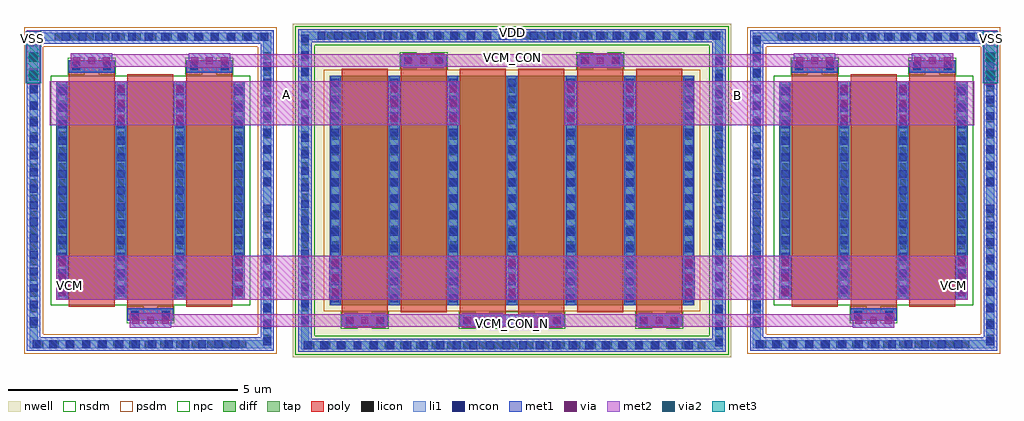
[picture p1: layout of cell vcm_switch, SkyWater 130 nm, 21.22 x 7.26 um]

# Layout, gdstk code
import gdstk
lib = gdstk.Library(unit=1e-6, precision=1e-09)
def R(c, l, rs):  # rectangles x0, y0, x1, y1
    for r in rs: c.add(gdstk.rectangle(r[:2], r[2:], *l))
def A(c, l, x, y, w, h, nx, ny, dx, dy):  # array of equal rectangles
    R(c, l, [(x+i*dx, y+j*dy, x+i*dx+w, y+j*dy+h) for i in range(nx) for j in range(ny)])
nwell = (64, 20)
diff = (65, 20)
tap = (65, 44)
poly = (66, 20)
licon = (66, 44)
li1 = (67, 20)
mcon = (67, 44)
met1 = (68, 20)
via = (68, 44)
met2 = (69, 20)
via2 = (69, 44)
met3 = (70, 20)
nsdm = (93, 44)
psdm = (94, 20)
npc = (95, 20)

vcm_switch = lib.new_cell('vcm_switch')
R(vcm_switch, nwell, [(5.845,0,15.375,7.26)])
R(vcm_switch, diff, [(6.645,1.13,14.575,6.13), (0.705,1.255,4.795,6.005), (16.425,1.255,20.515,6.005)])
R(vcm_switch, tap, [(6.025,0.18,15.195,0.35), (0.125,0.205,5.375,0.375), (15.845,0.205,21.095,0.375), (6.025,0.35,6.195,6.91), (15.025,0.35,15.195,6.91), (0.125,0.375,0.295,6.885), (5.205,0.375,5.375,6.885), (15.845,0.375,16.015,6.885), (20.925,0.375,21.095,6.885), (0.125,6.885,5.375,7.055), (15.845,6.885,21.095,7.055), (6.025,6.91,15.195,7.08)])
R(vcm_switch, poly, [(6.91,0.67,7.91,6.28), (9.47,0.67,10.47,6.28), (10.75,0.67,11.75,6.28), (13.31,0.67,14.31,6.28), (2.25,0.795,3.25,6.155), (17.97,0.795,18.97,6.155), (8.19,0.98,9.19,6.59), (12.03,0.98,13.03,6.59), (0.97,1.105,1.97,6.465), (3.53,1.105,4.53,6.465), (16.69,1.105,17.69,6.465), (19.25,1.105,20.25,6.465)])
A(vcm_switch, licon, 6.145, 0.18, 0.17, 0.17, 26, 1, 0.34, 0)
A(vcm_switch, licon, 0.245, 0.205, 0.17, 0.17, 14, 1, 0.34, 0)
A(vcm_switch, licon, 15.965, 0.205, 0.17, 0.17, 14, 1, 0.34, 0)
A(vcm_switch, licon, 15.025, 0.3, 0.17, 0.17, 1, 19, 0, 0.34)
A(vcm_switch, licon, 5.205, 0.325, 0.17, 0.17, 1, 9, 0, 0.34)
A(vcm_switch, licon, 20.925, 0.325, 0.17, 0.17, 1, 9, 0, 0.34)
A(vcm_switch, licon, 0.125, 0.645, 0.17, 0.17, 1, 19, 0, 0.34)
A(vcm_switch, licon, 15.845, 0.645, 0.17, 0.17, 1, 19, 0, 0.34)
A(vcm_switch, licon, 6.025, 0.67, 0.17, 0.17, 1, 19, 0, 0.34)
A(vcm_switch, licon, 0.745, 1.335, 0.17, 0.17, 4, 14, 1.28, 0.34)
A(vcm_switch, licon, 6.685, 1.335, 0.17, 0.17, 7, 14, 1.28, 0.34)
A(vcm_switch, licon, 16.465, 1.335, 0.17, 0.17, 4, 14, 1.28, 0.34)
A(vcm_switch, licon, 5.205, 3.75, 0.17, 0.17, 1, 9, 0, 0.34)
A(vcm_switch, licon, 20.925, 3.75, 0.17, 0.17, 1, 9, 0, 0.34)
A(vcm_switch, licon, 0.665, 6.885, 0.17, 0.17, 14, 1, 0.34, 0)
A(vcm_switch, licon, 16.385, 6.885, 0.17, 0.17, 14, 1, 0.34, 0)
A(vcm_switch, licon, 6.58, 6.91, 0.17, 0.17, 12, 1, 0.34, 0)
A(vcm_switch, licon, 10.825, 6.91, 0.17, 0.17, 13, 1, 0.34, 0)
R(vcm_switch, licon, [(6.99,0.72,7.16,0.89), (7.66,0.72,7.83,0.89), (9.55,0.72,9.72,0.89), (10.22,0.72,10.39,0.89), (10.83,0.72,11,0.89), (11.5,0.72,11.67,0.89), (13.39,0.72,13.56,0.89), (14.06,0.72,14.23,0.89), (2.33,0.845,2.5,1.015), (3,0.845,3.17,1.015), (18.05,0.845,18.22,1.015), (18.72,0.845,18.89,1.015), (1.05,6.245,1.22,6.415), (1.72,6.245,1.89,6.415), (3.61,6.245,3.78,6.415), (4.28,6.245,4.45,6.415), (16.77,6.245,16.94,6.415), (17.44,6.245,17.61,6.415), (19.33,6.245,19.5,6.415), (20,6.245,20.17,6.415), (8.27,6.37,8.44,6.54), (8.94,6.37,9.11,6.54), (12.11,6.37,12.28,6.54), (12.78,6.37,12.95,6.54)])
A(vcm_switch, li1, 6.685, 1.13, 0.17, 5, 7, 1, 1.28, 0)
A(vcm_switch, li1, 0.745, 1.255, 0.17, 4.75, 4, 1, 1.28, 0)
A(vcm_switch, li1, 16.465, 1.255, 0.17, 4.75, 4, 1, 1.28, 0)
R(vcm_switch, li1, [(6.025,0.18,15.195,0.35), (0.125,0.205,5.375,0.375), (15.845,0.205,21.095,0.375), (6.025,0.35,6.195,6.91), (15.025,0.35,15.195,6.91), (0.125,0.375,0.295,6.885), (5.205,0.375,5.375,6.885), (15.845,0.375,16.015,6.885), (20.925,0.375,21.095,6.885), (6.91,0.69,7.91,0.92), (9.47,0.69,11.75,0.92), (13.31,0.69,14.31,0.92), (2.25,0.815,3.25,1.045), (17.97,0.815,18.97,1.045), (0.97,6.215,1.97,6.445), (3.53,6.215,4.53,6.445), (16.69,6.215,17.69,6.445), (19.25,6.215,20.25,6.445), (8.19,6.34,9.19,6.57), (12.03,6.34,13.03,6.57), (0.125,6.885,5.375,7.055), (15.845,6.885,21.095,7.055), (6.025,6.91,15.195,7.08)])
A(vcm_switch, mcon, 6.085, 0.18, 0.17, 0.17, 24, 1, 0.36, 0)
A(vcm_switch, mcon, 0.185, 0.205, 0.17, 0.17, 13, 1, 0.36, 0)
A(vcm_switch, mcon, 15.905, 0.205, 0.17, 0.17, 13, 1, 0.36, 0)
A(vcm_switch, mcon, 15.025, 0.24, 0.17, 0.17, 1, 18, 0, 0.36)
A(vcm_switch, mcon, 5.205, 0.265, 0.17, 0.17, 1, 9, 0, 0.36)
A(vcm_switch, mcon, 20.925, 0.265, 0.17, 0.17, 1, 9, 0, 0.36)
A(vcm_switch, mcon, 0.125, 0.705, 0.17, 0.17, 1, 18, 0, 0.36)
A(vcm_switch, mcon, 15.845, 0.705, 0.17, 0.17, 1, 18, 0, 0.36)
A(vcm_switch, mcon, 6.025, 0.73, 0.17, 0.17, 1, 18, 0, 0.36)
A(vcm_switch, mcon, 6.685, 1.205, 0.17, 0.17, 7, 14, 1.28, 0.36)
A(vcm_switch, mcon, 0.745, 1.385, 0.17, 0.17, 4, 13, 1.28, 0.36)
A(vcm_switch, mcon, 16.465, 1.385, 0.17, 0.17, 4, 13, 1.28, 0.36)
A(vcm_switch, mcon, 5.205, 3.725, 0.17, 0.17, 1, 8, 0, 0.36)
A(vcm_switch, mcon, 20.925, 3.725, 0.17, 0.17, 1, 8, 0, 0.36)
A(vcm_switch, mcon, 0.825, 6.885, 0.17, 0.17, 13, 1, 0.36, 0)
A(vcm_switch, mcon, 16.545, 6.885, 0.17, 0.17, 13, 1, 0.36, 0)
A(vcm_switch, mcon, 6.385, 6.91, 0.17, 0.17, 12, 1, 0.36, 0)
A(vcm_switch, mcon, 11.005, 6.91, 0.17, 0.17, 12, 1, 0.36, 0)
R(vcm_switch, mcon, [(6.99,0.72,7.16,0.89), (7.66,0.72,7.83,0.89), (9.55,0.72,9.72,0.89), (10.22,0.72,10.39,0.89), (10.83,0.72,11,0.89), (11.5,0.72,11.67,0.89), (13.39,0.72,13.56,0.89), (14.06,0.72,14.23,0.89), (2.33,0.845,2.5,1.015), (3,0.845,3.17,1.015), (18.05,0.845,18.22,1.015), (18.72,0.845,18.89,1.015), (1.05,6.245,1.22,6.415), (1.72,6.245,1.89,6.415), (3.61,6.245,3.78,6.415), (4.28,6.245,4.45,6.415), (16.77,6.245,16.94,6.415), (17.44,6.245,17.61,6.415), (19.33,6.245,19.5,6.415), (20,6.245,20.17,6.415), (8.27,6.37,8.44,6.54), (8.94,6.37,9.11,6.54), (12.11,6.37,12.28,6.54), (12.78,6.37,12.95,6.54)])
A(vcm_switch, met1, 6.655, 1.13, 0.23, 0.125, 3, 1, 3.84, 0)
A(vcm_switch, met1, 6.64, 1.255, 0.26, 0.96, 3, 1, 3.84, 0)
A(vcm_switch, met1, 6.655, 2.215, 0.23, 3.915, 3, 1, 3.84, 0)
R(vcm_switch, met1, [(5.965,0.12,15.255,0.41), (0.065,0.145,5.435,0.435), (15.785,0.145,21.155,0.435), (5.965,0.41,6.255,6.85), (14.965,0.41,15.255,6.85), (0.065,0.435,0.355,6.825), (5.145,0.435,5.435,6.825), (15.785,0.435,16.075,6.825), (20.865,0.435,21.155,6.825), (2.3,0.645,3.2,0.795), (6.96,0.645,7.86,0.67), (9.52,0.645,10.42,0.67), (10.8,0.645,11.7,0.67), (13.36,0.645,14.26,0.67), (18.02,0.645,18.92,0.795), (6.91,0.67,7.91,0.94), (9.47,0.67,11.75,0.94), (13.31,0.67,14.31,0.94), (2.25,0.795,3.25,1.065), (17.97,0.795,18.97,1.065), (6.96,0.94,7.86,0.965), (9.52,0.94,10.42,0.965), (10.8,0.94,11.7,0.965), (13.36,0.94,14.26,0.965), (7.935,1.13,8.165,5.045), (9.215,1.13,9.445,5.045), (11.775,1.13,12.005,5.045), (13.055,1.13,13.285,5.045), (0.7,1.255,0.96,2.215), (1.995,1.255,2.225,5.045), (3.275,1.255,3.505,5.045), (4.54,1.255,4.8,2.215), (16.42,1.255,16.68,2.215), (17.715,1.255,17.945,5.045), (18.995,1.255,19.225,5.045), (20.26,1.255,20.52,2.215), (0.715,2.215,0.945,6.005), (4.555,2.215,4.785,6.005), (16.435,2.215,16.665,6.005), (20.275,2.215,20.505,6.005), (1.98,5.045,2.24,6.005), (3.26,5.045,3.52,6.005), (7.92,5.045,8.18,6.005), (9.2,5.045,9.46,6.005), (11.76,5.045,12.02,6.005), (13.04,5.045,13.3,6.005), (17.7,5.045,17.96,6.005), (18.98,5.045,19.24,6.005), (7.935,6.005,8.165,6.13), (9.215,6.005,9.445,6.13), (11.775,6.005,12.005,6.13), (13.055,6.005,13.285,6.13), (0.97,6.195,1.97,6.465), (3.53,6.195,4.53,6.465), (16.69,6.195,17.69,6.465), (19.25,6.195,20.25,6.465), (8.24,6.295,9.14,6.32), (12.08,6.295,12.98,6.32), (8.19,6.32,9.19,6.59), (12.03,6.32,13.03,6.59), (1.02,6.465,1.92,6.615), (3.58,6.465,4.48,6.615), (16.74,6.465,17.64,6.615), (19.3,6.465,20.2,6.615), (8.24,6.59,9.14,6.615), (12.08,6.59,12.98,6.615), (0.065,6.825,5.435,7.115), (15.785,6.825,21.155,7.115), (5.965,6.85,15.255,7.14)])
A(vcm_switch, via, 2.355, 0.73, 0.15, 0.15, 3, 1, 0.32, 0)
A(vcm_switch, via, 7.015, 0.73, 0.15, 0.15, 3, 1, 0.32, 0)
A(vcm_switch, via, 9.575, 0.73, 0.15, 0.15, 3, 1, 0.32, 0)
A(vcm_switch, via, 10.855, 0.73, 0.15, 0.15, 3, 1, 0.32, 0)
A(vcm_switch, via, 13.415, 0.73, 0.15, 0.15, 3, 1, 0.32, 0)
A(vcm_switch, via, 18.075, 0.73, 0.15, 0.15, 3, 1, 0.32, 0)
A(vcm_switch, via, 0.755, 1.34, 0.15, 0.15, 1, 3, 0, 0.32)
A(vcm_switch, via, 4.595, 1.34, 0.15, 0.15, 1, 3, 0, 0.32)
A(vcm_switch, via, 6.695, 1.34, 0.15, 0.15, 3, 3, 3.84, 0.32)
A(vcm_switch, via, 16.475, 1.34, 0.15, 0.15, 1, 3, 0, 0.32)
A(vcm_switch, via, 20.315, 1.34, 0.15, 0.15, 1, 3, 0, 0.32)
A(vcm_switch, via, 2.035, 5.13, 0.15, 0.15, 1, 3, 0, 0.32)
A(vcm_switch, via, 3.315, 5.13, 0.15, 0.15, 1, 3, 0, 0.32)
A(vcm_switch, via, 7.975, 5.13, 0.15, 0.15, 1, 3, 0, 0.32)
A(vcm_switch, via, 9.255, 5.13, 0.15, 0.15, 1, 3, 0, 0.32)
A(vcm_switch, via, 11.815, 5.13, 0.15, 0.15, 1, 3, 0, 0.32)
A(vcm_switch, via, 13.095, 5.13, 0.15, 0.15, 1, 3, 0, 0.32)
A(vcm_switch, via, 17.755, 5.13, 0.15, 0.15, 1, 3, 0, 0.32)
A(vcm_switch, via, 19.035, 5.13, 0.15, 0.15, 1, 3, 0, 0.32)
A(vcm_switch, via, 0.13, 6.135, 0.15, 0.15, 1, 3, 0, 0.32)
A(vcm_switch, via, 20.94, 6.135, 0.15, 0.15, 1, 3, 0, 0.32)
A(vcm_switch, via, 1.075, 6.38, 0.15, 0.15, 3, 1, 0.32, 0)
A(vcm_switch, via, 3.635, 6.38, 0.15, 0.15, 3, 1, 0.32, 0)
A(vcm_switch, via, 8.295, 6.38, 0.15, 0.15, 3, 1, 0.32, 0)
A(vcm_switch, via, 12.135, 6.38, 0.15, 0.15, 3, 1, 0.32, 0)
A(vcm_switch, via, 16.795, 6.38, 0.15, 0.15, 3, 1, 0.32, 0)
A(vcm_switch, via, 19.355, 6.38, 0.15, 0.15, 3, 1, 0.32, 0)
R(vcm_switch, met2, [(2.3,0.645,3.2,0.67), (6.96,0.645,7.86,0.67), (9.52,0.645,10.42,0.67), (10.8,0.645,11.7,0.67), (13.36,0.645,14.26,0.67), (18.02,0.645,18.92,0.67), (2.3,0.67,18.92,0.94), (2.3,0.94,3.2,0.965), (6.96,0.94,7.86,0.965), (9.52,0.94,10.42,0.965), (10.8,0.94,11.7,0.965), (13.36,0.94,14.26,0.965), (18.02,0.94,18.92,0.965), (0.7,1.255,20.52,2.215), (0.565,5.045,9.47,6.005), (11.75,5.045,20.655,6.005), (0.065,5.945,0.345,7.115), (20.875,5.945,21.155,7.115), (1.02,6.295,1.92,6.32), (3.58,6.295,4.48,6.32), (8.24,6.295,9.14,6.32), (12.08,6.295,12.98,6.32), (16.74,6.295,17.64,6.32), (19.3,6.295,20.2,6.32), (1.02,6.32,20.2,6.59), (1.02,6.59,1.92,6.615), (3.58,6.59,4.48,6.615), (8.24,6.59,9.14,6.615), (12.08,6.59,12.98,6.615), (16.74,6.59,17.64,6.615), (19.3,6.59,20.2,6.615)])
A(vcm_switch, via2, 0.105, 6.03, 0.2, 0.2, 1, 3, 0, 0.4)
A(vcm_switch, via2, 20.915, 6.03, 0.2, 0.2, 1, 3, 0, 0.4)
R(vcm_switch, met3, [(0.04,5.965,0.37,7.095), (20.85,5.965,21.18,7.095)])
R(vcm_switch, nsdm, [(5.9,0.055,15.32,0.475), (5.9,0.475,6.32,6.785), (14.9,0.475,15.32,6.785), (0.58,1.13,4.92,6.13), (16.3,1.13,20.64,6.13), (5.9,6.785,15.32,7.205)])
R(vcm_switch, psdm, [(0,0.08,5.5,0.5), (15.72,0.08,21.22,0.5), (0,0.5,0.42,6.76), (5.08,0.5,5.5,6.76), (15.72,0.5,16.14,6.76), (20.8,0.5,21.22,6.76), (6.52,1.005,14.7,6.255), (0,6.76,5.5,7.18), (15.72,6.76,21.22,7.18)])
R(vcm_switch, npc, [(6.89,0.62,7.26,0.99), (7.56,0.62,7.93,0.99), (9.45,0.62,9.82,0.99), (10.12,0.62,11.1,0.99), (11.4,0.62,11.77,0.99), (13.29,0.62,13.66,0.99), (13.96,0.62,14.33,0.99), (2.23,0.745,2.6,1.115), (2.9,0.745,3.27,1.115), (17.95,0.745,18.32,1.115), (18.62,0.745,18.99,1.115), (0.95,6.145,1.32,6.515), (1.62,6.145,1.99,6.515), (3.51,6.145,3.88,6.515), (4.18,6.145,4.55,6.515), (16.67,6.145,17.04,6.515), (17.34,6.145,17.71,6.515), (19.23,6.145,19.6,6.515), (19.9,6.145,20.27,6.515), (8.17,6.27,8.54,6.64), (8.84,6.27,9.21,6.64), (12.01,6.27,12.38,6.64), (12.68,6.27,13.05,6.64)])
vcm_switch.add(gdstk.Label('VCM', (20.21,1.555), layer=69, texttype=5))
vcm_switch.add(gdstk.Label('VCM', (0.99,1.555), layer=69, texttype=5))
vcm_switch.add(gdstk.Label('VCM_CON', (10.61,6.52), layer=69, texttype=5))
vcm_switch.add(gdstk.Label('VCM_CON_N', (10.61,0.74), layer=69, texttype=5))
vcm_switch.add(gdstk.Label('B', (15.515,5.705), layer=69, texttype=5))
vcm_switch.add(gdstk.Label('A', (5.71,5.725), layer=69, texttype=5))
vcm_switch.add(gdstk.Label('VSS', (21.03,6.945), layer=70, texttype=5))
vcm_switch.add(gdstk.Label('VSS', (0.19,6.945), layer=70, texttype=5))
vcm_switch.add(gdstk.Label('VDD', (10.61,7.07), layer=68, texttype=5))

lib.write_gds('vcm_switch.gds')
